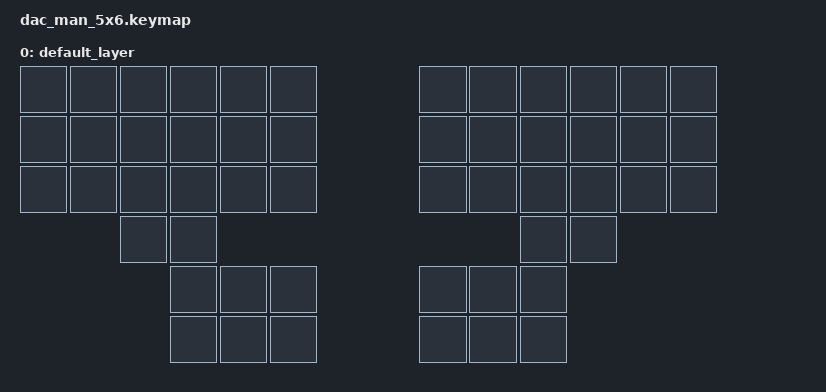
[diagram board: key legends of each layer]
#include <behaviors.dtsi>
#include <dt-bindings/zmk/keys.h>
#include <dt-bindings/zmk/bt.h>

#define DEFAULT 0
#define RAISE   1
#define LOWER   2

/ {
    keymap {
        compatible = "zmk,keymap";

        default_layer {
// Commented layout is not actual layout.
// -------------------------------------------------------------------------------------------------------------------------
// |   ESC   |    N    |    D    |    P    |    L    |    (    |                   |    )    |    T    |    J    |    Q    |    U    |    BSPC    |
// |   TAB   |    R    |    S    |    H    |    W    |    B    |                   |    E    |    O    |    Y    |    G    |    F    |    DEL     |
// |  LCTRL  |    Z    |    X    |    C    |    V    |    !    |                   |    ?    |    A    |    I    |    K    |    M    |   ENTER    |
//                     |    "    |    '    |                                                           |    ,    |    .    |
//                               | MO lay 1| SPACE   | SPACE   |                   | ENTER   | MO lay 2| MO lay 2|
//                               |   TAB   |   HOME  |    ~    |                   |   END   |   DEL   | MO lay 2|
            bindings = <

&none    &none      &none     &none      &none      &none                          &none    &none      &none     &none      &none      &none
&none    &none      &none     &none      &none      &none                          &none    &none      &none     &none      &none      &none
&none    &none      &none     &none      &none      &none                          &none    &none      &none     &none      &none      &none
                    &none     &none                                                                    &none    &none
                              &none     &none      &none                           &none     &none      &none
                              &none     &none      &none                           &none     &none      &none
            >;
        };

//        raise {
// Commented layout is not actual layout.

//        lower {
// Commented layout is not actual layout.

   };
};
